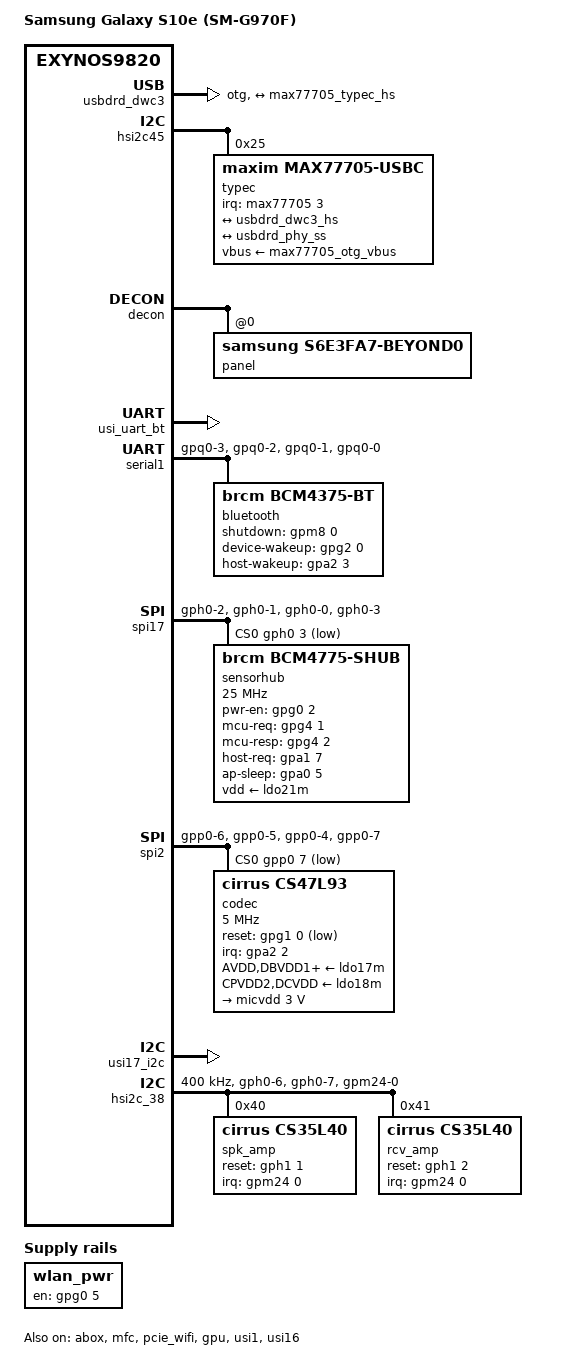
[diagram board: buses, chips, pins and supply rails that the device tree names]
// SPDX-License-Identifier: GPL-2.0 OR BSD-3-Clause
/*
 * Samsung Galaxy S10e (beyond0lte/SM-G970F) device tree source
 *
 * Same board as the S10 (touch, PMIC rails, buttons) with a smaller panel
 * and battery. Panel size from the vendor DT: 1080x2280, 5.8".
 */

/dts-v1/;
#include "exynos9820-common.dtsi"
#include <dt-bindings/usb/pd.h>

/ {
	model = "Samsung Galaxy S10e (SM-G970F)";

	compatible = "samsung,beyond0lte", "samsung,exynos9820";
	chassis-type = "handset";

	chosen {
		framebuffer0: framebuffer@ca000000 {
			compatible = "simple-framebuffer";
			reg = <0x0 0xca000000 (1080 * 2280 * 4)>;
			width = <1080>;
			height = <2280>;
			stride = <(1080 * 4)>;
			format = "a8r8g8b8";
			panel = <&panel>;

			/* Dummy panel for simple-framebuffer dimension info */
			panel: dummy-panel {
				width-mm = <63>;
				height-mm = <133>;
			};
		};
	};

	/*
	 * Carve-outs the S10e's own S-Boot DT reserves (read from the live
	 * Android /proc/device-tree, 2026-10-28) that the S10 common dtsi
	 * does not: the EL2 hypervisor's early memory at the top of the 6 GB,
	 * the RDX boot device, debug-snapshot logs, and the camera blocks.
	 */
	reserved-memory {
		#address-cells = <2>;
		#size-cells = <1>;
		ranges;

		el2_earlymem@97e000000 {
			reg = <0x9 0x7e000000 0x2000000>;
			no-map;
		};

		sec_rdx_bootdev@880000000 {
			reg = <0x8 0x80000000 0xad00000>;
			no-map;
		};

		camera_contig@98200000 {
			reg = <0x0 0x98200000 0xe00000>;
			no-map;
		};

		camera@99000000 {
			reg = <0x0 0x99000000 0xe400000>;
			no-map;
		};

		dss_log_s2d@eb308000 {
			reg = <0x0 0xeb308000 0x1f08000>;
			no-map;
		};

		/* Free in the live S10e map. A reset keeps RAM, so the rescue
		 * shell can read a dead boot's log from /sys/fs/pstore. */
		ramoops@e8000000 {
			compatible = "ramoops";
			reg = <0x0 0xe8000000 0x200000>;
			record-size = <0x40000>;
			console-size = <0x100000>;
			pmsg-size = <0x40000>;
			ftrace-size = <0x0>;
		};

		/*
		 * IOVA only: the MFC's window is stock's [0x10000000,
		 * 0xd0000000) (s5p-mfc puts the firmware at its start).
		 */
		mfc_iova: mfc-iova-reserved {
			iommu-addresses = <&mfc 0x0 0x10000000>,
					  <&mfc 0xd0000000 0x30000000>;
		};

		/* calliope DRAM image (28 MiB) + its private area (8 MiB) */
		abox_fw_mem: abox-fw@c4000000 {
			reg = <0x0 0xc4000000 0x2400000>;
			no-map;
		};

		dss_logs@fd900000 {
			reg = <0x0 0xfd900000 0x2700000>;
			no-map;
		};
	};
};

&battery {
	compatible = "simple-battery";
	constant-charge-voltage-max-microvolt = <4350000>;	/* stock chg_float_voltage */
	constant-charge-current-max-microamp = <2100000>;
	charge-full-design-microamp-hours = <3100000>;
};

/*
 * The MAX77705 CCIC (typec@25) sets the data role through the role switch.
 * Device mode is the default so the USB gadget (ssh) is up at boot before
 * the Type-C driver loads; without a role switch dual-role dwc3 waited for
 * a VBUS change and a cable in at boot needed a replug.
 */
&usbdrd_dwc3 {
	dr_mode = "otg";
	usb-role-switch;
	role-switch-default-mode = "peripheral";

	port {
		usbdrd_dwc3_hs: endpoint {
			remote-endpoint = <&max77705_typec_hs>;
		};
	};
};

/*
 * SuperSpeed lanes: the combo PHY is the connector's orientation switch.
 * Downstream picks the lane pair from gpg0-4 ("PHY_CON", phy,gpio_phy_port)
 * at every PIPE3 init; the driver does the same and re-inits on a Type-C
 * orientation change.
 */
&usbdrd_phy {
	orientation-switch;
	samsung,phy-port-gpios = <&gpg0 4 GPIO_ACTIVE_HIGH>;
	pinctrl-names = "default";
	pinctrl-0 = <&usb_phy_port>;

	port {
		usbdrd_phy_ss: endpoint {
			remote-endpoint = <&max77705_typec_ss>;
		};
	};
};

&max77705_charger {
	/* OTG boost bits ORed onto the charger mode; refused while CHGIN is up */
	max77705_otg_vbus: usb-otg-vbus {
		regulator-name = "usb_otg_vbus";
	};
};

&hsi2c45 {
	/*
	 * MAX77705 CCIC ("MUIC" downstream, 0x4a >> 1): Type-C and the PD
	 * policy engine run in its firmware. As a sink the driver takes a
	 * fixed PDO of at most 9 V / 15 W (stock pd_charging_charge_power);
	 * sink-pdos are stock's max77705,snkcap_data without the PPS entries.
	 */
	typec@25 {
		compatible = "maxim,max77705-usbc";
		reg = <0x25>;
		interrupt-parent = <&max77705>;
		interrupts = <3>;
		vbus-supply = <&max77705_otg_vbus>;
		maxim,charger = <&max77705_charger>;

		connector {
			compatible = "usb-c-connector";
			label = "USB-C";
			power-role = "dual";
			data-role = "dual";
			try-power-role = "sink";
			sink-pdos = <PDO_FIXED(5000, 3000, PDO_FIXED_DUAL_ROLE |
						PDO_FIXED_HIGHER_CAP |
						PDO_FIXED_USB_COMM |
						PDO_FIXED_DATA_SWAP)
				     PDO_FIXED(9000, 1670, 0)>;
			op-sink-microwatt = <15000000>;

			ports {
				#address-cells = <1>;
				#size-cells = <0>;

				port@0 {
					reg = <0>;

					max77705_typec_hs: endpoint {
						remote-endpoint = <&usbdrd_dwc3_hs>;
					};
				};

				port@1 {
					reg = <1>;

					max77705_typec_ss: endpoint {
						remote-endpoint = <&usbdrd_phy_ss>;
					};
				};
			};
		};
	};
};

/*
 * S-Boot picks what to boot from INFORM3 (0x80c); the values are the ones
 * downstream drivers/samsung/sec_reboot.c writes. Extends the dtsi's node
 * (the kernel allows one syscon-reboot-mode): a plain reboot goes back to
 * RECOVERY, where this U-Boot boots Mobian; "reboot android" leaves it.
 */
&pmu_system_controller {
	reboot-mode {
		mode-normal = <0x12345674>;
		mode-android = <0x12345670>;
	};
};

/*
 * Wi-Fi: BCM4375 on the GEN2 PCIe channel. WLAN_REG_ON (gpg0-5) powers the
 * chip from VBAT; downstream waits 200 ms before bringing the link up.
 */
&pinctrl_fsys1 {
	pcie0_clkreq: pcie0-clkreq-pins {
		samsung,pins = "gpf2-0";
		samsung,pin-function = <2>;
		samsung,pin-pud = <3>;
		samsung,pin-drv = <3>;
	};

	pcie0_perst: pcie0-perst-pins {
		samsung,pins = "gpf2-2";
		samsung,pin-function = <EXYNOS_PIN_FUNC_OUTPUT>;
		samsung,pin-pud = <EXYNOS_PIN_PULL_NONE>;
		samsung,pin-drv = <3>;
	};
};

&pinctrl_alive {
	/* BCM4775 sensor hub: HOST_REQ (hub -> AP, level-high IRQ) */
	shub_host_req: shub-host-req-pins {
		samsung,pins = "gpa1-7";
		samsung,pin-function = <EXYNOS_PIN_FUNC_EINT>;
		samsung,pin-pud = <EXYNOS_PIN_PULL_DOWN>;
	};

	/* AP_SLEEP ("batch-wake-irq"), an AP output the hub reads */
	shub_ap_sleep: shub-ap-sleep-pins {
		samsung,pins = "gpa0-5";
		samsung,pin-function = <EXYNOS_PIN_FUNC_OUTPUT>;
		samsung,pin-pud = <EXYNOS_PIN_PULL_NONE>;
	};

	shub_int: shub-int-pins {
		samsung,pins = "gpa4-0";
		samsung,pin-function = <EXYNOS_PIN_FUNC_INPUT>;
		samsung,pin-pud = <EXYNOS_PIN_PULL_NONE>;
	};

	uart1_bus: uart1-bus-pins {
		samsung,pins = "gpq0-3", "gpq0-2", "gpq0-1", "gpq0-0";
		samsung,pin-function = <EXYNOS_PIN_FUNC_2>;
		samsung,pin-pud = <EXYNOS_PIN_PULL_UP>;
		samsung,pin-drv = <0>;
	};

	codec_irq: codec-irq-pins {
		samsung,pins = "gpa2-2";
		samsung,pin-function = <EXYNOS_PIN_FUNC_EINT>;
		samsung,pin-pud = <EXYNOS_PIN_PULL_NONE>;
	};

	bt_hostwake: bt-hostwake-pins {
		samsung,pins = "gpa2-3";
		samsung,pin-function = <EXYNOS_PIN_FUNC_EINT>;
		samsung,pin-pud = <EXYNOS_PIN_PULL_DOWN>;
	};
};

&pinctrl_cmgp {
	amp_irq: amp-irq-pins {
		samsung,pins = "gpm24-0";
		samsung,pin-function = <EXYNOS_PIN_FUNC_EINT>;
		samsung,pin-pud = <EXYNOS_PIN_PULL_NONE>;
	};

	bt_en: bt-en-pins {
		samsung,pins = "gpm8-0";
		samsung,pin-function = <EXYNOS_PIN_FUNC_OUTPUT>;
		samsung,pin-pud = <EXYNOS_PIN_PULL_NONE>;
	};
};

&pinctrl_aud {
	/* UAIF0: I2S to the codec AIF1 (BCLK, WS, SDO, SDI) */
	uaif0_bus: uaif0-bus-pins {
		samsung,pins = "gpb0-1", "gpb0-2", "gpb0-3", "gpb0-4";
		samsung,pin-function = <EXYNOS_PIN_FUNC_2>;
		samsung,pin-pud = <EXYNOS_PIN_PULL_DOWN>;
	};

	uaif0_idle: uaif0-idle-pins {
		samsung,pins = "gpb0-1", "gpb0-2", "gpb0-3", "gpb0-4";
		samsung,pin-function = <EXYNOS_PIN_FUNC_INPUT>;
		samsung,pin-pud = <EXYNOS_PIN_PULL_DOWN>;
	};

	uaif1_bus: uaif1-bus-pins {
		samsung,pins = "gpb1-0", "gpb1-1", "gpb1-2", "gpb1-3";
		samsung,pin-function = <EXYNOS_PIN_FUNC_2>;
		samsung,pin-pud = <EXYNOS_PIN_PULL_DOWN>;
	};

	uaif1_idle: uaif1-idle-pins {
		samsung,pins = "gpb1-0", "gpb1-1", "gpb1-2", "gpb1-3";
		samsung,pin-function = <EXYNOS_PIN_FUNC_INPUT>;
		samsung,pin-pud = <EXYNOS_PIN_PULL_DOWN>;
	};
};

&abox {
	memory-region = <&abox_fw_mem>;
	/* not "default": GPIO_AUD loses its state with pd_aud, the driver reapplies it */
	pinctrl-names = "active", "idle";
	pinctrl-0 = <&uaif0_bus &uaif1_bus>;
	pinctrl-1 = <&uaif0_idle &uaif1_idle>;
	status = "okay";
};

&mfc {
	memory-region = <&mfc_iova>;
	status = "okay";
};

&decon {
	memory-region = <&fb_region>;
	status = "okay";

	/*
	 * S6E3FA7 on DSIM0, lit by S-Boot. No reset-gpios or supplies on
	 * purpose: the driver only sends DCS commands (sleep in/out, display
	 * off/on, AOR brightness) and never power-cycles the panel.
	 */
	panel@0 {
		compatible = "samsung,s6e3fa7-beyond0";
		reg = <0>;
	};
};

&pinctrl_peric1 {
	hsi2c38_bus: hsi2c38-bus-pins {
		samsung,pins = "gph0-6", "gph0-7";
		samsung,pin-function = <EXYNOS_PIN_FUNC_3>;
		samsung,pin-pud = <EXYNOS_PIN_PULL_NONE>;
		samsung,pin-drv = <0>;
	};

	spk_amp_reset: spk-amp-reset-pins {
		samsung,pins = "gph1-1";
		samsung,pin-function = <EXYNOS_PIN_FUNC_OUTPUT>;
		samsung,pin-pud = <EXYNOS_PIN_PULL_NONE>;
	};

	rcv_amp_reset: rcv-amp-reset-pins {
		samsung,pins = "gph1-2";
		samsung,pin-function = <EXYNOS_PIN_FUNC_OUTPUT>;
		samsung,pin-pud = <EXYNOS_PIN_PULL_NONE>;
	};

	/* BCM4773 sensor hub / GNSS (downstream spi_17 = USI16) */
	spi17_bus: spi17-bus-pins {
		samsung,pins = "gph0-2", "gph0-1", "gph0-0";
		samsung,pin-function = <EXYNOS_PIN_FUNC_2>;
		samsung,pin-pud = <EXYNOS_PIN_PULL_NONE>;
		samsung,pin-drv = <0>;
	};

	/* downstream drives this CS as a GPIO too (controller-data cs-gpio) */
	spi17_cs: spi17-cs-pins {
		samsung,pins = "gph0-3";
		samsung,pin-function = <EXYNOS_PIN_FUNC_OUTPUT>;
		samsung,pin-pud = <EXYNOS_PIN_PULL_UP>;
		samsung,pin-drv = <0>;
	};
};

&pinctrl_peric0 {
	/* BCM4775: GPS_PWR_EN (nSTDBY), MCU_REQ out, MCU_RESP in */
	shub_pwr_en: shub-pwr-en-pins {
		samsung,pins = "gpg0-2";
		samsung,pin-function = <EXYNOS_PIN_FUNC_OUTPUT>;
		samsung,pin-pud = <EXYNOS_PIN_PULL_DOWN>;
	};

	shub_mcu_req: shub-mcu-req-pins {
		samsung,pins = "gpg4-1";
		samsung,pin-function = <EXYNOS_PIN_FUNC_OUTPUT>;
		samsung,pin-pud = <EXYNOS_PIN_PULL_NONE>;
	};

	shub_mcu_resp: shub-mcu-resp-pins {
		samsung,pins = "gpg4-2";
		samsung,pin-function = <EXYNOS_PIN_FUNC_INPUT>;
		samsung,pin-pud = <EXYNOS_PIN_PULL_NONE>;
	};

	spi2_bus: spi2-bus-pins {
		samsung,pins = "gpp0-6", "gpp0-5", "gpp0-4";
		samsung,pin-function = <EXYNOS_PIN_FUNC_2>;
		samsung,pin-pud = <EXYNOS_PIN_PULL_NONE>;
		samsung,pin-drv = <0>;
	};

	/*
	 * The controller's automatic CS drops between the address and data
	 * phases of a madera read in PIO mode (downstream uses manual CS), so
	 * drive the CS pin as a GPIO.
	 */
	spi2_cs: spi2-cs-pins {
		samsung,pins = "gpp0-7";
		samsung,pin-function = <EXYNOS_PIN_FUNC_OUTPUT>;
		samsung,pin-pud = <EXYNOS_PIN_PULL_UP>;
		samsung,pin-drv = <0>;
	};

	codec_reset: codec-reset-pins {
		samsung,pins = "gpg1-0";
		samsung,pin-function = <EXYNOS_PIN_FUNC_OUTPUT>;
		samsung,pin-pud = <EXYNOS_PIN_PULL_NONE>;
	};

	bt_btwake: bt-btwake-pins {
		samsung,pins = "gpg2-0";
		samsung,pin-function = <EXYNOS_PIN_FUNC_OUTPUT>;
		samsung,pin-pud = <EXYNOS_PIN_PULL_NONE>;
	};

	/* USB/DP PHY lane pair select input, as downstream's phy-port */
	usb_phy_port: usb-phy-port-pins {
		samsung,pins = "gpg0-4";
		samsung,pin-function = <EXYNOS_PIN_FUNC_INPUT>;
		samsung,pin-pud = <EXYNOS_PIN_PULL_UP>;
		samsung,pin-drv = <0>;
	};

	wlan_en: wlan-en-pins {
		samsung,pins = "gpg0-5";
		samsung,pin-function = <EXYNOS_PIN_FUNC_OUTPUT>;
		samsung,pin-pud = <EXYNOS_PIN_PULL_NONE>;
		samsung,pin-drv = <3>;
	};
};

/ {
	wlan_pwr: regulator-wlan {
		compatible = "regulator-fixed";
		regulator-name = "wlan_reg_on";
		gpio = <&gpg0 5 GPIO_ACTIVE_HIGH>;
		enable-active-high;
		startup-delay-us = <200000>;
		pinctrl-names = "default";
		pinctrl-0 = <&wlan_en>;
	};
};

&pcie_wifi {
	pinctrl-names = "default";
	pinctrl-0 = <&pcie0_clkreq &pcie0_perst>;
	reset-gpios = <&gpf2 2 GPIO_ACTIVE_LOW>;
	vpcie-supply = <&wlan_pwr>;
	status = "okay";
};

&usi_uart_bt {
	samsung,mode = <USI_MODE_UART>;
	/* without it the BCM4375 never sees our TX; downstream always sets it */
	samsung,clkreq-on;
	status = "okay";
};

&serial1 {
	pinctrl-names = "default";
	pinctrl-0 = <&uart1_bus>;
	status = "okay";

	bluetooth {
		compatible = "brcm,bcm4375-bt";
		pinctrl-names = "default";
		pinctrl-0 = <&bt_en &bt_btwake &bt_hostwake>;
		shutdown-gpios = <&gpm8 0 GPIO_ACTIVE_HIGH>;
		device-wakeup-gpios = <&gpg2 0 GPIO_ACTIVE_HIGH>;
		host-wakeup-gpios = <&gpa2 3 GPIO_ACTIVE_HIGH>;
		max-speed = <3000000>;
	};
};

/* Keep G3D powered as the bootloader leaves it; see the note on &gpu. */
&pd_embedded_g3d {
	status = "disabled";
};

&gpu {
	status = "okay";
};

/* CLKOUT0 pad (XCLKOUT) feeds the codec MCLK1; source 1 is the 26 MHz TCXO. */
&pmu_system_controller {
	#clock-cells = <1>;
	clock-names = "clkout1";
	clocks = <&oscclk>;
};

&acpm_ipc {
	pmic-1 {
		regulators {
			ldo17m: ldo17m {
				regulator-name = "vdd_pmic_codec_1p8";
				regulator-min-microvolt = <1800000>;
				regulator-max-microvolt = <1800000>;
				regulator-always-on;
				regulator-boot-on;
			};

			ldo18m: ldo18m {
				regulator-name = "vdd_codec_1p2";
				regulator-min-microvolt = <1200000>;
				regulator-max-microvolt = <1200000>;
				regulator-ramp-delay = <12000>;
				regulator-enable-ramp-delay = <5000>;
			};

			/* BCM4775 sensor hub core supply; downstream keeps it on */
			ldo21m: ldo21m {
				regulator-name = "vdd_mcu_1p8";
				regulator-min-microvolt = <1800000>;
				regulator-max-microvolt = <1800000>;
				regulator-always-on;
				regulator-boot-on;
			};
		};
	};
};

&usi1 {
	samsung,mode = <USI_MODE_SPI>;
	status = "okay";
};

&usi16 {
	samsung,mode = <USI_MODE_SPI>;
	status = "okay";
};

&spi17 {
	pinctrl-names = "default";
	pinctrl-0 = <&spi17_bus &spi17_cs>;
	cs-gpios = <&gph0 3 GPIO_ACTIVE_LOW>;
	status = "okay";

	/* BCM4775 B0 sensor hub + GNSS (drivers/iio/common/bcm4775_shub) */
	sensorhub@0 {
		compatible = "brcm,bcm4775-shub";
		reg = <0>;
		spi-max-frequency = <25000000>;
		spi-cpol;
		spi-cpha;

		pinctrl-names = "default";
		pinctrl-0 = <&shub_host_req &shub_ap_sleep &shub_int
			     &shub_pwr_en &shub_mcu_req &shub_mcu_resp>;
		vdd-supply = <&ldo21m>;
		pwr-en-gpios = <&gpg0 2 GPIO_ACTIVE_HIGH>;
		mcu-req-gpios = <&gpg4 1 GPIO_ACTIVE_HIGH>;
		mcu-resp-gpios = <&gpg4 2 GPIO_ACTIVE_HIGH>;
		host-req-gpios = <&gpa1 7 GPIO_ACTIVE_HIGH>;
		ap-sleep-gpios = <&gpa0 5 GPIO_ACTIVE_HIGH>;
	};
};

&spi2 {
	pinctrl-names = "default";
	pinctrl-0 = <&spi2_bus &spi2_cs>;
	cs-gpios = <&gpp0 7 GPIO_ACTIVE_LOW>;
	status = "okay";

	codec: codec@0 {
		compatible = "cirrus,cs47l93";
		reg = <0>;
		/* downstream runs 25 MHz; start slow until the bus is proven */
		spi-max-frequency = <5000000>;

		pinctrl-names = "default";
		pinctrl-0 = <&codec_reset &codec_irq>;
		reset-gpios = <&gpg1 0 GPIO_ACTIVE_LOW>;

		interrupt-controller;
		#interrupt-cells = <2>;
		interrupts-extended = <&gpa2 2 IRQ_TYPE_LEVEL_LOW>;

		gpio-controller;
		#gpio-cells = <2>;
		#sound-dai-cells = <1>;

		AVDD-supply = <&ldo17m>;
		DBVDD1-supply = <&ldo17m>;
		CPVDD1-supply = <&ldo17m>;
		CPVDD2-supply = <&ldo18m>;
		DCVDD-supply = <&ldo18m>;

		clocks = <&pmu_system_controller 0>;
		clock-names = "mclk1";
		/* CLKOUT0 resets to source 0 (nothing); source 1 is the TCXO */
		assigned-clocks = <&pmu_system_controller 0>;
		assigned-clock-parents = <&oscclk>;

		cirrus,dmic-ref = <0 0 1 1>;
		cirrus,inmode = <0 0 0 0
				 0 0 1 1>;
		cirrus,out-mono = <0 0 0 1 0 0>;

		micvdd {
			regulator-min-microvolt = <3000000>;
			regulator-max-microvolt = <3000000>;
		};

		/*
		 * The AIF1 pins (GPIO5-8) reset to plain GPIO. Selected by the
		 * sound card: on the codec node itself the state would also
		 * claim the Exynos reset/irq pins a second time.
		 */
		codec_aif1: pin-settings {
			aif1-pins {
				groups = "aif1";
				function = "aif1";
				bias-bus-hold;
			};
		};
	};
};

&usi17_i2c {
	samsung,mode = <USI_MODE_I2C>;
	status = "okay";
};

&hsi2c_38 {
	clock-frequency = <400000>;
	pinctrl-names = "default";
	pinctrl-0 = <&hsi2c38_bus &amp_irq>;
	status = "okay";

	/*
	 * Two CS35L40s on one TDM bus (ABOX UAIF1). Boost values: downstream
	 * never programs them, and the chip reset defaults decode to 1 uH and
	 * the <=19 uF cap range.
	 */
	spk_amp: amplifier@40 {
		compatible = "cirrus,cs35l40";
		reg = <0x40>;
		#sound-dai-cells = <1>;
		sound-name-prefix = "SPK";

		pinctrl-names = "default";
		pinctrl-0 = <&spk_amp_reset>;
		reset-gpios = <&gph1 1 GPIO_ACTIVE_HIGH>;
		interrupts-extended = <&gpm24 0 IRQ_TYPE_LEVEL_LOW>;

		cirrus,boost-type = <0>;
		cirrus,boost-peak-milliamp = <4100>;
		cirrus,boost-ind-nanohenry = <1000>;
		cirrus,boost-cap-microfarad = <15>;
		cirrus,asp-sdout-hiz = <3>;
	};

	rcv_amp: amplifier@41 {
		compatible = "cirrus,cs35l40";
		reg = <0x41>;
		#sound-dai-cells = <1>;
		sound-name-prefix = "RCV";

		pinctrl-names = "default";
		pinctrl-0 = <&rcv_amp_reset>;
		reset-gpios = <&gph1 2 GPIO_ACTIVE_HIGH>;
		interrupts-extended = <&gpm24 0 IRQ_TYPE_LEVEL_LOW>;

		cirrus,boost-type = <0>;
		cirrus,boost-peak-milliamp = <4100>;
		cirrus,boost-ind-nanohenry = <1000>;
		cirrus,boost-cap-microfarad = <15>;
		cirrus,asp-sdout-hiz = <3>;
	};
};

/ {
	sound {
		compatible = "samsung,beyond0lte-madera";
		pinctrl-names = "default";
		pinctrl-0 = <&codec_aif1>;
		samsung,audio-codec = <&codec>;
		samsung,audio-cpu = <&abox>;
		/* TDM slot order: earpiece amp on slot 0, loudspeaker amp on slot 1 */
		samsung,speaker-amps = <&rcv_amp>, <&spk_amp>;
	};
};

/ {
	/*
	 * The Shannon modem inside the SoC (S5000AP CP): MCU_IPC mailbox
	 * "mcu_ipc_cp", the AP2CP_CFG register and the modem_if carve-out,
	 * as the stock mif_pdata/mcu_ipc/shmem nodes describe them.
	 */
	modem {
		compatible = "samsung,exynos9820-cp";
		reg = <0x0 0x15920000 0x180>, <0x0 0x15020000 0x4>;
		reg-names = "mailbox", "ap2cp-cfg";
		interrupts = <GIC_SPI 41 IRQ_TYPE_LEVEL_HIGH>;
		memory-region = <&modem_if>;
		samsung,pmu-syscon = <&pmu_system_controller>;
	};
};
